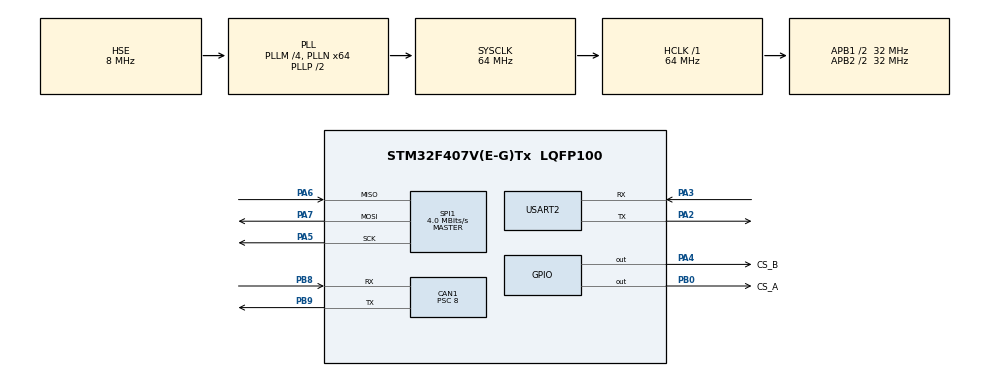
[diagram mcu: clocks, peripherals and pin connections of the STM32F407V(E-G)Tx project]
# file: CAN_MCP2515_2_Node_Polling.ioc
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CAN1.BS1=CAN_BS1_5TQ
CAN1.BS2=CAN_BS2_2TQ
CAN1.CalculateBaudRate=500000
CAN1.CalculateTimeBit=2000
CAN1.CalculateTimeQuantum=250.0
CAN1.NART=ENABLE
CAN1.Prescaler=8
Mcu.Family=STM32F4
Mcu.Name=STM32F407V(E-G)Tx
Mcu.Package=LQFP100
NVIC.PriorityGroup=NVIC_PRIORITYGROUP_0
PA13.Mode=Serial_Wire
PA13.Signal=SYS_JTMS-SWDIO
PA14.Mode=Serial_Wire
PA14.Signal=SYS_JTCK-SWCLK
PA2.Mode=Asynchronous
PA2.Signal=USART2_TX
PA3.Mode=Asynchronous
PA3.Signal=USART2_RX
PA4.GPIO_Label=CS_B
PA4.GPIO_Speed=GPIO_SPEED_FREQ_VERY_HIGH
PA4.PinState=GPIO_PIN_SET
PA4.Signal=GPIO_Output
PA5.Mode=Full_Duplex_Master
PA5.Signal=SPI1_SCK
PA6.Mode=Full_Duplex_Master
PA6.Signal=SPI1_MISO
PA7.Mode=Full_Duplex_Master
PA7.Signal=SPI1_MOSI
PB0.GPIO_Label=CS_A
PB0.GPIO_Speed=GPIO_SPEED_FREQ_VERY_HIGH
PB0.PinState=GPIO_PIN_SET
PB0.Signal=GPIO_Output
PB8.GPIO_PuPd=GPIO_NOPULL
PB8.Mode=CAN_Activate
PB8.Signal=CAN1_RX
PB9.Mode=CAN_Activate
PB9.Signal=CAN1_TX
PH0-OSC_IN.Mode=HSE-External-Oscillator
PH0-OSC_IN.Signal=RCC_OSC_IN
PH1-OSC_OUT.Mode=HSE-External-Oscillator
PH1-OSC_OUT.Signal=RCC_OSC_OUT
ProjectManager.HeapSize=0x200
ProjectManager.StackSize=0x400
ProjectManager.TargetToolchain=STM32CubeIDE
RCC.48MHZClocksFreq_Value=18285714.285714287
RCC.AHBFreq_Value=64000000
RCC.APB1CLKDivider=RCC_HCLK_DIV2
RCC.APB1Freq_Value=32000000
RCC.APB1TimFreq_Value=64000000
RCC.APB2CLKDivider=RCC_HCLK_DIV2
RCC.APB2Freq_Value=32000000
RCC.APB2TimFreq_Value=64000000
RCC.CortexFreq_Value=64000000
RCC.HCLKFreq_Value=64000000
RCC.HSE_VALUE=8000000
RCC.HSI_VALUE=16000000
RCC.LSE_VALUE=32768
RCC.PLLM=4
RCC.PLLN=64
RCC.PLLQ=7
RCC.PLLSourceVirtual=RCC_PLLSOURCE_HSE
RCC.SYSCLKFreq_VALUE=64000000
RCC.SYSCLKSource=RCC_SYSCLKSOURCE_PLLCLK
RCC.VCOOutputFreq_Value=128000000
SPI1.BaudRatePrescaler=SPI_BAUDRATEPRESCALER_8
SPI1.CalculateBaudRate=4.0 MBits/s
SPI1.Direction=SPI_DIRECTION_2LINES
SPI1.Mode=SPI_MODE_MASTER
SPI1.VirtualType=VM_MASTER
USART2.VirtualMode=VM_ASYNC
board=STM32F407G-DISC1

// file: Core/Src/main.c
/* USER CODE BEGIN Header */
/**
  ******************************************************************************
  * @file           : main.c
  * @brief          : Main program body
  ******************************************************************************
  * @attention
  *
  * Copyright (c) 2026 STMicroelectronics.
  * All rights reserved.
  *
  * This software is licensed under terms that can be found in the LICENSE file
  * in the root directory of this software component.
  * If no LICENSE file comes with this software, it is provided AS-IS.
  *
  ******************************************************************************
  */
/* USER CODE END Header */
#include "main.h"

/* USER CODE BEGIN Includes */

#include "mcp2515.h"
#include "stdio.h"
#include "string.h"

/* USER CODE END Includes */

CAN_HandleTypeDef hcan1;

SPI_HandleTypeDef hspi1;

UART_HandleTypeDef huart2;

/* USER CODE BEGIN PV */

MCP2515_Handle_t mcpA = {&hspi1, GPIOA, GPIO_PIN_4};
MCP2515_Handle_t mcpB = {&hspi1, GPIOB, GPIO_PIN_0};

//uint8_t txData[2];
uint16_t rxId;
uint8_t rxData[8];
uint8_t rxLen;

uint8_t eflg;
uint8_t mcpstatus;
uint8_t intf;
uint8_t rxStatus;
uint8_t tec;
uint8_t rec;
uint8_t RXB0;
uint8_t RXB1;

char msgMCP[100];
const uint8_t uart_msg[] = "UART_Initialized\r\n";

uint32_t spi_error;
HAL_SPI_StateTypeDef spi_state;

// Node A
CAN_TxHeaderTypeDef txHeader;
uint8_t txData[8];
uint32_t txMailbox;

HAL_CAN_StateTypeDef CAN_State_Var;

/* USER CODE END PV */

void SystemClock_Config(void);
static void MX_GPIO_Init(void);
static void MX_SPI1_Init(void);
static void MX_USART2_UART_Init(void);
static void MX_CAN1_Init(void);

int main(void)
{

  /* MCU Configuration--------------------------------------------------------*/

  /* Reset of all peripherals, Initializes the Flash interface and the Systick. */
  HAL_Init();

  /* Configure the system clock */
  SystemClock_Config();

  /* Initialize all configured peripherals */
  MX_GPIO_Init();
  MX_SPI1_Init();
  MX_USART2_UART_Init();
  MX_CAN1_Init();
  /* USER CODE BEGIN 2 */

  MCP_CS_HIGH(&mcpA);
  MCP_CS_HIGH(&mcpB);

  HAL_UART_Transmit(&huart2, uart_msg, sizeof(uart_msg), HAL_MAX_DELAY);

  MCP2515_Init(&mcpA);
  MCP2515_Init(&mcpB);

  /* USER CODE END 2 */

  /* Infinite loop */
  while (1)
  {

    /* USER CODE BEGIN 3 */
	uint8_t data[3] = {0x11, 0x22, 0x33};
	MCP2515_Send(&mcpA, 0x123, data, 3);

	if (MCP2515_Receive(&mcpB, &rxId, rxData, &rxLen))
	{
	  sprintf(msgMCP,"RX OK\r\n");
	  HAL_UART_Transmit(&huart2, msgMCP, sizeof(msgMCP), HAL_MAX_DELAY);
	}

	HAL_Delay(1000);

  }
  /* USER CODE END 3 */
}

void SystemClock_Config(void)
{
  RCC_OscInitTypeDef RCC_OscInitStruct = {0};
  RCC_ClkInitTypeDef RCC_ClkInitStruct = {0};

  /** Configure the main internal regulator output voltage
  */
  __HAL_RCC_PWR_CLK_ENABLE();
  __HAL_PWR_VOLTAGESCALING_CONFIG(PWR_REGULATOR_VOLTAGE_SCALE1);

  /** Initializes the RCC Oscillators according to the specified parameters
  * in the RCC_OscInitTypeDef structure.
  */
  RCC_OscInitStruct.OscillatorType = RCC_OSCILLATORTYPE_HSE;
  RCC_OscInitStruct.HSEState = RCC_HSE_ON;
  RCC_OscInitStruct.PLL.PLLState = RCC_PLL_ON;
  RCC_OscInitStruct.PLL.PLLSource = RCC_PLLSOURCE_HSE;
  RCC_OscInitStruct.PLL.PLLM = 4;
  RCC_OscInitStruct.PLL.PLLN = 64;
  RCC_OscInitStruct.PLL.PLLP = RCC_PLLP_DIV2;
  RCC_OscInitStruct.PLL.PLLQ = 7;
  if (HAL_RCC_OscConfig(&RCC_OscInitStruct) != HAL_OK)
  {
    Error_Handler();
  }

  /** Initializes the CPU, AHB and APB buses clocks
  */
  RCC_ClkInitStruct.ClockType = RCC_CLOCKTYPE_HCLK|RCC_CLOCKTYPE_SYSCLK
                              |RCC_CLOCKTYPE_PCLK1|RCC_CLOCKTYPE_PCLK2;
  RCC_ClkInitStruct.SYSCLKSource = RCC_SYSCLKSOURCE_PLLCLK;
  RCC_ClkInitStruct.AHBCLKDivider = RCC_SYSCLK_DIV1;
  RCC_ClkInitStruct.APB1CLKDivider = RCC_HCLK_DIV2;
  RCC_ClkInitStruct.APB2CLKDivider = RCC_HCLK_DIV2;

  if (HAL_RCC_ClockConfig(&RCC_ClkInitStruct, FLASH_LATENCY_2) != HAL_OK)
  {
    Error_Handler();
  }
}

static void MX_CAN1_Init(void)
{

  hcan1.Instance = CAN1;
  hcan1.Init.Prescaler = 8;
  hcan1.Init.Mode = CAN_MODE_NORMAL;
  hcan1.Init.SyncJumpWidth = CAN_SJW_1TQ;
  hcan1.Init.TimeSeg1 = CAN_BS1_5TQ;
  hcan1.Init.TimeSeg2 = CAN_BS2_2TQ;
  hcan1.Init.TimeTriggeredMode = DISABLE;
  hcan1.Init.AutoBusOff = DISABLE;
  hcan1.Init.AutoWakeUp = DISABLE;
  hcan1.Init.AutoRetransmission = ENABLE;
  hcan1.Init.ReceiveFifoLocked = DISABLE;
  hcan1.Init.TransmitFifoPriority = DISABLE;
  if (HAL_CAN_Init(&hcan1) != HAL_OK)
  {
    Error_Handler();
  }

}

static void MX_SPI1_Init(void)
{

  /* SPI1 parameter configuration*/
  hspi1.Instance = SPI1;
  hspi1.Init.Mode = SPI_MODE_MASTER;
  hspi1.Init.Direction = SPI_DIRECTION_2LINES;
  hspi1.Init.DataSize = SPI_DATASIZE_8BIT;
  hspi1.Init.CLKPolarity = SPI_POLARITY_LOW;
  hspi1.Init.CLKPhase = SPI_PHASE_1EDGE;
  hspi1.Init.NSS = SPI_NSS_SOFT;
  hspi1.Init.BaudRatePrescaler = SPI_BAUDRATEPRESCALER_8;
  hspi1.Init.FirstBit = SPI_FIRSTBIT_MSB;
  hspi1.Init.TIMode = SPI_TIMODE_DISABLE;
  hspi1.Init.CRCCalculation = SPI_CRCCALCULATION_DISABLE;
  hspi1.Init.CRCPolynomial = 10;
  if (HAL_SPI_Init(&hspi1) != HAL_OK)
  {
    Error_Handler();
  }

}

static void MX_USART2_UART_Init(void)
{

  huart2.Instance = USART2;
  huart2.Init.BaudRate = 115200;
  huart2.Init.WordLength = UART_WORDLENGTH_8B;
  huart2.Init.StopBits = UART_STOPBITS_1;
  huart2.Init.Parity = UART_PARITY_NONE;
  huart2.Init.Mode = UART_MODE_TX_RX;
  huart2.Init.HwFlowCtl = UART_HWCONTROL_NONE;
  huart2.Init.OverSampling = UART_OVERSAMPLING_16;
  if (HAL_UART_Init(&huart2) != HAL_OK)
  {
    Error_Handler();
  }

}

static void MX_GPIO_Init(void)
{
  GPIO_InitTypeDef GPIO_InitStruct = {0};

  /* GPIO Ports Clock Enable */
  __HAL_RCC_GPIOH_CLK_ENABLE();
  __HAL_RCC_GPIOA_CLK_ENABLE();
  __HAL_RCC_GPIOB_CLK_ENABLE();

  /*Configure GPIO pin Output Level */
  HAL_GPIO_WritePin(CS_B_GPIO_Port, CS_B_Pin, GPIO_PIN_SET);

  /*Configure GPIO pin Output Level */
  HAL_GPIO_WritePin(CS_A_GPIO_Port, CS_A_Pin, GPIO_PIN_SET);

  /*Configure GPIO pin : CS_B_Pin */
  GPIO_InitStruct.Pin = CS_B_Pin;
  GPIO_InitStruct.Mode = GPIO_MODE_OUTPUT_PP;
  GPIO_InitStruct.Pull = GPIO_NOPULL;
  GPIO_InitStruct.Speed = GPIO_SPEED_FREQ_VERY_HIGH;
  HAL_GPIO_Init(CS_B_GPIO_Port, &GPIO_InitStruct);

  /*Configure GPIO pin : CS_A_Pin */
  GPIO_InitStruct.Pin = CS_A_Pin;
  GPIO_InitStruct.Mode = GPIO_MODE_OUTPUT_PP;
  GPIO_InitStruct.Pull = GPIO_NOPULL;
  GPIO_InitStruct.Speed = GPIO_SPEED_FREQ_VERY_HIGH;
  HAL_GPIO_Init(CS_A_GPIO_Port, &GPIO_InitStruct);

}

void Error_Handler(void)
{
  __disable_irq();
  while (1)
  {
  }
}
